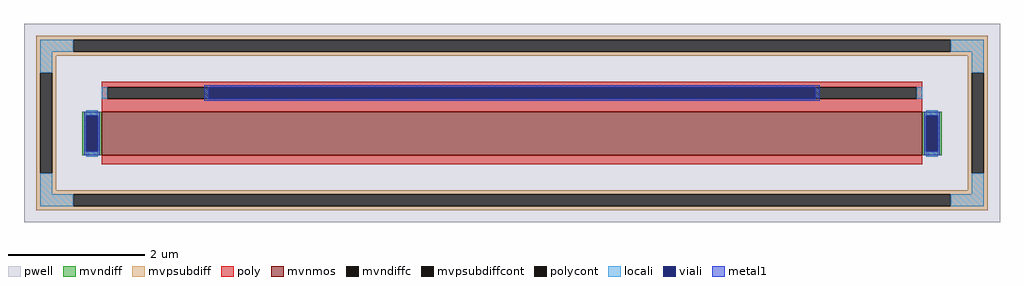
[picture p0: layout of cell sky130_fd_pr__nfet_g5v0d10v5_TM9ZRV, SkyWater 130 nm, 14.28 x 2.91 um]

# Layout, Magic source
magic
tech sky130A
magscale 1 2
<< pwell >>
rect -1428 -291 1428 291
<< mvnmos >>
rect -1200 -95 1200 33
<< mvndiff >>
rect -1258 21 -1200 33
rect -1258 -83 -1246 21
rect -1212 -83 -1200 21
rect -1258 -95 -1200 -83
rect 1200 21 1258 33
rect 1200 -83 1212 21
rect 1246 -83 1258 21
rect 1200 -95 1258 -83
<< mvndiffc >>
rect -1246 -83 -1212 21
rect 1212 -83 1246 21
<< mvpsubdiff >>
rect -1392 243 1392 255
rect -1392 209 -1284 243
rect 1284 209 1392 243
rect -1392 197 1392 209
rect -1392 147 -1334 197
rect -1392 -147 -1380 147
rect -1346 -147 -1334 147
rect 1334 147 1392 197
rect -1392 -197 -1334 -147
rect 1334 -147 1346 147
rect 1380 -147 1392 147
rect 1334 -197 1392 -147
rect -1392 -209 1392 -197
rect -1392 -243 -1284 -209
rect 1284 -243 1392 -209
rect -1392 -255 1392 -243
<< mvpsubdiffcont >>
rect -1284 209 1284 243
rect -1380 -147 -1346 147
rect 1346 -147 1380 147
rect -1284 -243 1284 -209
<< poly >>
rect -1200 105 1200 121
rect -1200 71 -1184 105
rect 1184 71 1200 105
rect -1200 33 1200 71
rect -1200 -121 1200 -95
<< polycont >>
rect -1184 71 1184 105
<< locali >>
rect -1380 209 -1284 243
rect 1284 209 1380 243
rect -1380 147 -1346 209
rect 1346 147 1380 209
rect -1200 71 -1184 105
rect 1184 71 1200 105
rect -1246 21 -1212 37
rect -1246 -99 -1212 -83
rect 1212 21 1246 37
rect 1212 -99 1246 -83
rect -1380 -209 -1346 -147
rect 1346 -209 1380 -147
rect -1380 -243 -1284 -209
rect 1284 -243 1380 -209
<< viali >>
rect -888 71 888 105
rect -1246 -83 -1212 21
rect 1212 -83 1246 21
<< metal1 >>
rect -900 105 900 111
rect -900 71 -888 105
rect 888 71 900 105
rect -900 65 900 71
rect -1252 21 -1206 33
rect -1252 -83 -1246 21
rect -1212 -83 -1206 21
rect -1252 -95 -1206 -83
rect 1206 21 1252 33
rect 1206 -83 1212 21
rect 1246 -83 1252 21
rect 1206 -95 1252 -83
<< properties >>
string FIXED_BBOX -1363 -226 1363 226
string gencell sky130_fd_pr__nfet_g5v0d10v5
string library sky130
string parameters w 0.64 l 12 m 1 nf 1 diffcov 100 polycov 100 guard 1 glc 1 grc 1 gtc 1 gbc 1 tbcov 100 rlcov 100 topc 1 botc 0 poverlap 0 doverlap 1 lmin 0.50 wmin 0.42 compatible {sky130_fd_pr__nfet_01v8 sky130_fd_pr__nfet_01v8_lvt  sky130_fd_bs_flash__special_sonosfet_star  sky130_fd_pr__nfet_g5v0d10v5 sky130_fd_pr__nfet_05v0_nvt  sky130_fd_pr__nfet_03v3_nvt} full_metal 1 viasrc 100 viadrn 100 viagate 75 viagb 0 viagr 0 viagl 0 viagt 0
<< end >>
